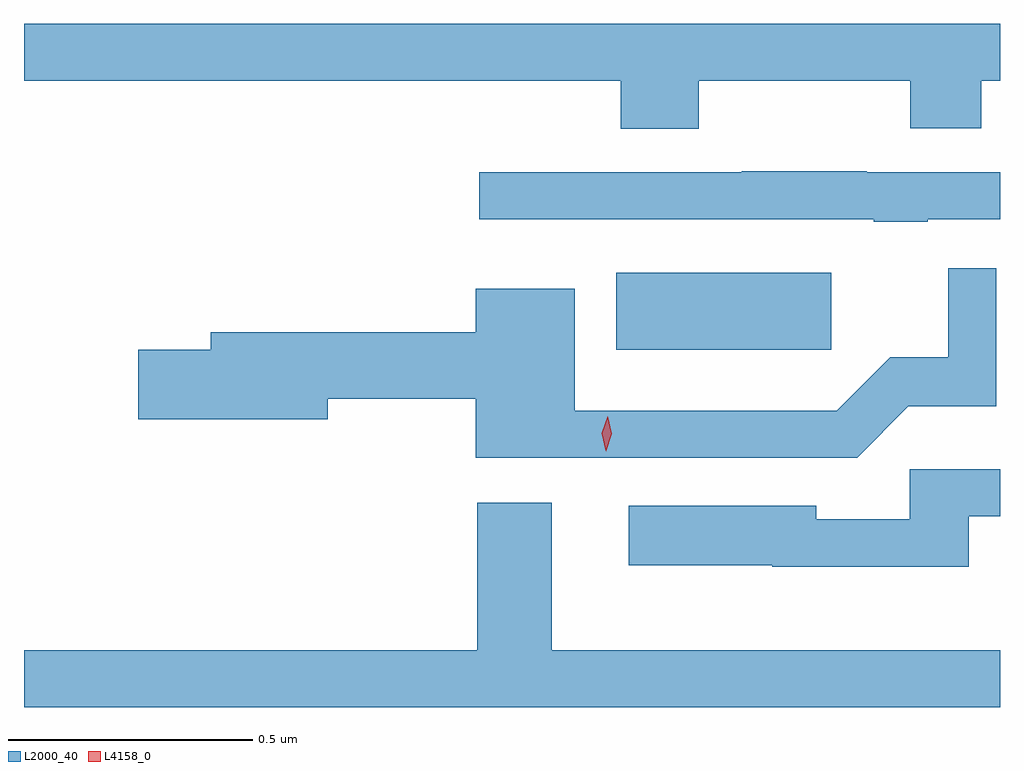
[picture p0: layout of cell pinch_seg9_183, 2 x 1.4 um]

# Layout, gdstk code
import gdstk
lib = gdstk.Library(unit=1e-6, precision=1e-09)
def R(c, l, rs):  # rectangles x0, y0, x1, y1
    for r in rs: c.add(gdstk.rectangle(r[:2], r[2:], *l))
def P(c, l, *ps):  # polygons
    for p in ps: c.add(gdstk.Polygon(p, *l))
L2000_40 = (2000, 40)
L4158_0 = (4158, 0)

pinch_seg9_183 = lib.new_cell('pinch_seg9_183')
R(pinch_seg9_183, L2000_40, [(791.024,1165.232,791.464,1165.39)])
P(pinch_seg9_183, L2000_40, [(791.193,1165.784),(791.626,1165.784),(791.626,1165.686),(791.772,1165.686),(791.772,1165.784),(791.81,1165.784),(791.81,1165.9),(789.81,1165.9),(789.81,1165.784),(791.033,1165.784),(791.033,1165.685),(791.193,1165.685)],
  [(791.662,1165.5),(791.81,1165.5),(791.81,1165.596),(791.537,1165.596),(791.537,1165.598),(791.281,1165.598),(791.281,1165.596),(790.743,1165.596),(790.743,1165.5),(791.551,1165.5),(791.551,1165.495),(791.662,1165.495)],
  [(791.622,1165.116),(791.802,1165.116),(791.802,1165.399),(791.704,1165.399),(791.704,1165.217),(791.585,1165.217),(791.475,1165.107),(790.939,1165.107),(790.939,1165.357),(790.736,1165.357),(790.736,1165.268),(790.193,1165.268),(790.193,1165.232),(790.044,1165.232),(790.044,1165.09),(790.432,1165.09),(790.432,1165.132),(790.736,1165.132),(790.736,1165.011),(791.517,1165.011)],
  [(791.746,1164.891),(791.81,1164.891),(791.81,1164.987),(791.625,1164.987),(791.625,1164.885),(791.433,1164.885),(791.433,1164.913),(791.049,1164.913),(791.049,1164.791),(791.343,1164.791),(791.343,1164.788),(791.746,1164.788)],
  [(791.81,1164.616),(790.891,1164.616),(790.891,1164.919),(790.739,1164.919),(790.739,1164.616),(789.81,1164.616),(789.81,1164.5),(791.81,1164.5)])
P(pinch_seg9_183, L4158_0, [(791.003,1165.024),(791.002,1165.025),(790.994,1165.061),(791.006,1165.096),(791.006,1165.096),(791.006,1165.096),(791.014,1165.06),(791.003,1165.025)])

lib.write_gds('pinch_seg9_183.gds')
